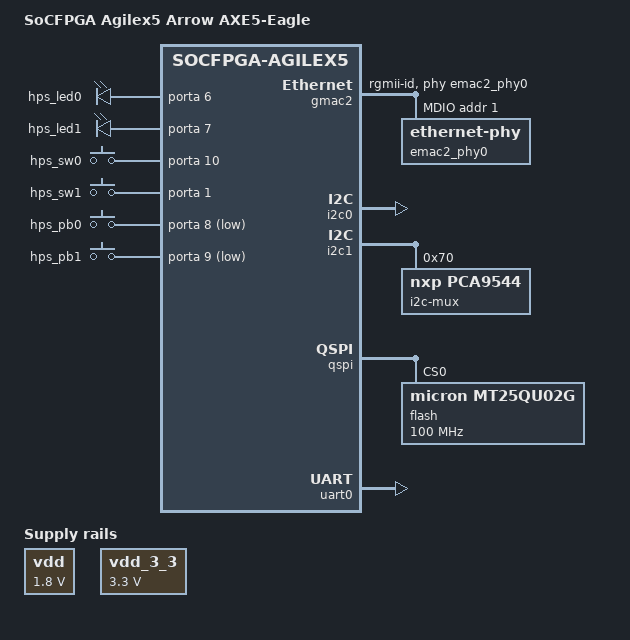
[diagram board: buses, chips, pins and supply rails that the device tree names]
// SPDX-License-Identifier:     GPL-2.0
/*
 * Copyright (C) 2024, Arrow Electronics, Inc.
 */
#include "socfpga_agilex5.dtsi"

/ {
	model = "SoCFPGA Agilex5 Arrow AXE5-Eagle";
	compatible = "arrow,socfpga-agilex5-axe5-eagle", "intel,socfpga-agilex5";

	aliases {
		serial0 = &uart0;
	};

	chosen {
		stdout-path = "serial0:115200n8";
	};

	leds {
		compatible = "gpio-leds";

		led-0 {
			label = "hps_led0";
			gpios = <&porta 6 GPIO_ACTIVE_HIGH>;
		};

		led-1 {
			label = "hps_led1";
			gpios = <&porta 7 GPIO_ACTIVE_HIGH>;
		};
	};

	gpio-keys {
		compatible = "gpio-keys";

		key-0 {
			label = "hps_sw0";
			gpios = <&porta 10 0>;
			linux,input-type = <5>;	/* EV_SW */
			linux,code = <0x0>;
		};

		key-1 {
			label = "hps_sw1";
			gpios = <&porta 1 0>;
			linux,input-type = <5>;	/* EV_SW */
			linux,code = <0x0>;
		};

		key-2 {
			label = "hps_pb0";
			gpios = <&porta 8 1>;
			linux,code = <187>;		/* KEY_F17 */
		};

		key-3 {
			label = "hps_pb1";
			gpios = <&porta 9 1>;
			linux,code = <188>;		/* KEY_F18 */
		};
	};

	vdd: regulator-vdd {
		compatible = "regulator-fixed";
		regulator-name = "fixed-supply";
		regulator-min-microvolt = <1800000>;
		regulator-max-microvolt = <1800000>;
		regulator-always-on;
	};

	vdd_3_3: regulator-vdd {
		compatible = "regulator-fixed";
		regulator-name = "fixed-supply";
		regulator-min-microvolt = <3300000>;
		regulator-max-microvolt = <3300000>;
		regulator-always-on;
	};
};

&gmac2 {
	status = "okay";
	phy-mode = "rgmii-id";
	phy-handle = <&emac2_phy0>;

	mdio0 {
		#address-cells = <1>;
		#size-cells = <0>;
		compatible = "snps,dwmac-mdio";
		emac2_phy0: ethernet-phy@1 {
			reg = <0x1>;
		};
	};
};

&gpio0 {
	status = "okay";
};

&i2c0 {
	status = "okay";
};

&i2c1 {
	status = "okay";

	i2c-mux@70 {
		compatible = "nxp,pca9544";
		#address-cells = <1>;
		#size-cells = <0>;
		reg = <0x70>;
		status = "okay";
	};
};

&osc1 {
	clock-frequency = <25000000>;
};

&qspi {
	status = "okay";

	flash@0 {
		#address-cells = <1>;
		#size-cells = <1>;
		compatible = "micron,mt25qu02g", "jedec,spi-nor";
		reg = <0>;
		spi-max-frequency = <100000000>;

		m25p,fast-read;
		cdns,read-delay = <2>;
		cdns,tshsl-ns = <50>;
		cdns,tsd2d-ns = <50>;
		cdns,tchsh-ns = <4>;
		cdns,tslch-ns = <4>;
	};
};

&uart0 {
	status = "okay";
};
